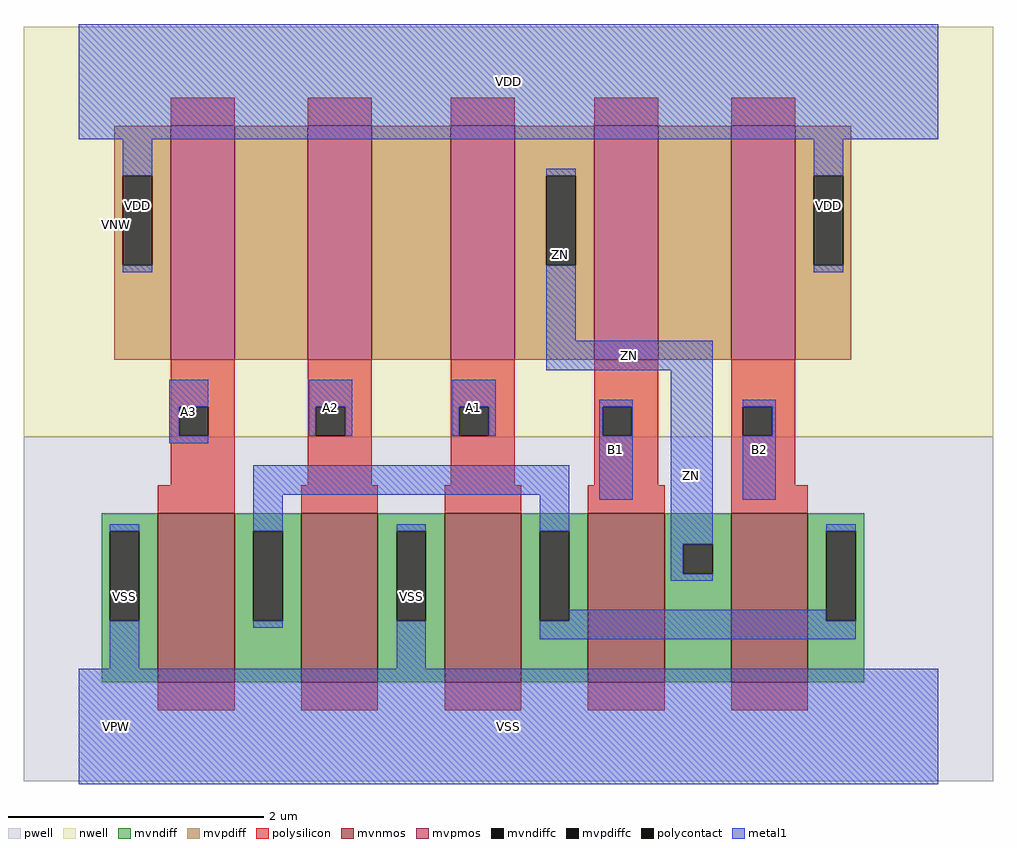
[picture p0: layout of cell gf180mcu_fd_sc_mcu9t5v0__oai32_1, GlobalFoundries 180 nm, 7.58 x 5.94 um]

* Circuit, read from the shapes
.subckt gf180mcu_fd_sc_mcu9t5v0__oai32_1 A1 A2 A3 B1 B2 ZN VDD VNW VPW VSS
XM1 n1 A3 VSS VPW nfet_06v0 w=1.32u l=0.6u
XM2 VSS A2 n1 VPW nfet_06v0 w=1.32u l=0.6u
XM3 n1 A1 VSS VPW nfet_06v0 w=1.32u l=0.6u
XM4 ZN B1 n1 VPW nfet_06v0 w=1.32u l=0.6u
XM5 n1 B2 ZN VPW nfet_06v0 w=1.32u l=0.6u
XM6 n2 A3 VDD VNW pfet_06v0 w=1.83u l=0.5u
XM7 n3 A2 n2 VNW pfet_06v0 w=1.83u l=0.5u
XM8 ZN A1 n3 VNW pfet_06v0 w=1.83u l=0.5u
XM9 n4 B1 ZN VNW pfet_06v0 w=1.83u l=0.5u
XM10 VDD B2 n4 VNW pfet_06v0 w=1.83u l=0.5u
.ends

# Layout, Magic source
magic
tech gf180mcuD
magscale 1 10
<< nwell >>
rect -86 453 1430 1094
<< pwell >>
rect -86 -86 1430 453
<< mvnmos >>
rect 124 69 244 333
rect 348 69 468 333
rect 572 69 692 333
rect 796 69 916 333
rect 1020 69 1140 333
<< mvpmos >>
rect 144 573 244 939
rect 358 573 458 939
rect 582 573 682 939
rect 806 573 906 939
rect 1020 573 1120 939
<< mvndiff >>
rect 36 305 124 333
rect 36 165 49 305
rect 95 165 124 305
rect 36 69 124 165
rect 244 305 348 333
rect 244 165 273 305
rect 319 165 348 305
rect 244 69 348 165
rect 468 305 572 333
rect 468 165 497 305
rect 543 165 572 305
rect 468 69 572 165
rect 692 305 796 333
rect 692 165 721 305
rect 767 165 796 305
rect 692 69 796 165
rect 916 285 1020 333
rect 916 239 945 285
rect 991 239 1020 285
rect 916 69 1020 239
rect 1140 305 1228 333
rect 1140 165 1169 305
rect 1215 165 1228 305
rect 1140 69 1228 165
<< mvpdiff >>
rect 56 861 144 939
rect 56 721 69 861
rect 115 721 144 861
rect 56 573 144 721
rect 244 573 358 939
rect 458 573 582 939
rect 682 861 806 939
rect 682 721 731 861
rect 777 721 806 861
rect 682 573 806 721
rect 906 573 1020 939
rect 1120 861 1208 939
rect 1120 721 1149 861
rect 1195 721 1208 861
rect 1120 573 1208 721
<< mvndiffc >>
rect 49 165 95 305
rect 273 165 319 305
rect 497 165 543 305
rect 721 165 767 305
rect 945 239 991 285
rect 1169 165 1215 305
<< mvpdiffc >>
rect 69 721 115 861
rect 731 721 777 861
rect 1149 721 1195 861
<< polysilicon >>
rect 144 939 244 983
rect 358 939 458 983
rect 582 939 682 983
rect 806 939 906 983
rect 1020 939 1120 983
rect 144 500 244 573
rect 144 454 157 500
rect 203 454 244 500
rect 144 377 244 454
rect 358 500 458 573
rect 358 454 371 500
rect 417 454 458 500
rect 358 377 458 454
rect 582 500 682 573
rect 582 454 595 500
rect 641 454 682 500
rect 582 377 682 454
rect 806 500 906 573
rect 806 454 819 500
rect 865 454 906 500
rect 806 377 906 454
rect 1020 500 1120 573
rect 1020 454 1038 500
rect 1084 454 1120 500
rect 1020 377 1120 454
rect 124 333 244 377
rect 348 333 468 377
rect 572 333 692 377
rect 796 333 916 377
rect 1020 333 1140 377
rect 124 25 244 69
rect 348 25 468 69
rect 572 25 692 69
rect 796 25 916 69
rect 1020 25 1140 69
<< polycontact >>
rect 157 454 203 500
rect 371 454 417 500
rect 595 454 641 500
rect 819 454 865 500
rect 1038 454 1084 500
<< metal1 >>
rect 0 918 1344 1098
rect 69 861 115 918
rect 69 710 115 721
rect 731 861 777 872
rect 731 603 777 721
rect 1149 861 1195 918
rect 1149 710 1195 721
rect 731 557 991 603
rect 142 500 203 542
rect 142 454 157 500
rect 360 500 428 542
rect 360 454 371 500
rect 417 454 428 500
rect 584 500 652 542
rect 584 454 595 500
rect 641 454 652 500
rect 814 500 866 511
rect 814 454 819 500
rect 865 454 866 500
rect 142 443 203 454
rect 273 362 767 408
rect 49 305 95 316
rect 49 90 95 165
rect 273 305 319 362
rect 273 154 319 165
rect 497 305 543 316
rect 497 90 543 165
rect 721 305 767 362
rect 814 354 866 454
rect 926 285 991 557
rect 1038 500 1090 511
rect 1084 454 1090 500
rect 1038 354 1090 454
rect 926 239 945 285
rect 926 228 991 239
rect 1169 305 1215 316
rect 767 165 1169 182
rect 721 136 1215 165
rect 0 -90 1344 90
<< labels >>
flabel metal1 s 584 454 652 542 0 FreeSans 200 0 0 0 A1
port 1 nsew default input
flabel metal1 s 360 454 428 542 0 FreeSans 200 0 0 0 A2
port 2 nsew default input
flabel metal1 s 142 443 203 542 0 FreeSans 200 0 0 0 A3
port 3 nsew default input
flabel metal1 s 814 354 866 511 0 FreeSans 200 0 0 0 B1
port 4 nsew default input
flabel metal1 s 1038 354 1090 511 0 FreeSans 200 0 0 0 B2
port 5 nsew default input
flabel metal1 s 0 918 1344 1098 0 FreeSans 200 0 0 0 VDD
port 7 nsew power bidirectional abutment
flabel metal1 s 497 90 543 316 0 FreeSans 200 0 0 0 VSS
port 10 nsew ground bidirectional abutment
flabel metal1 s 731 603 777 872 0 FreeSans 200 0 0 0 ZN
port 6 nsew default output
flabel nwell s 10 734 110 834 0 FreeSans 400 0 0 0 VNW
port 8 nsew power bidirectional
flabel pwell s 10 -50 110 50 0 FreeSans 400 0 0 0 VPW
port 9 nsew ground bidirectional
rlabel metal1 s 731 557 991 603 1 ZN
port 6 nsew default output
rlabel metal1 s 926 228 991 557 1 ZN
port 6 nsew default output
rlabel metal1 s 1149 710 1195 918 1 VDD
port 7 nsew power bidirectional abutment
rlabel metal1 s 69 710 115 918 1 VDD
port 7 nsew power bidirectional abutment
rlabel metal1 s 49 90 95 316 1 VSS
port 10 nsew ground bidirectional abutment
rlabel metal1 s 0 -90 1344 90 1 VSS
port 10 nsew ground bidirectional abutment
<< properties >>
string FIXED_BBOX 0 0 1344 1008
string GDS_END 166272
string GDS_FILE $PDKPATH/libs.ref/gf180mcu_fd_sc_mcu9t5v0/gds/gf180mcu_fd_sc_mcu9t5v0.gds
string GDS_START 162082
string LEFclass core
string LEFsite GF018hv5v_green_sc9
string LEFsymmetry X Y
<< end >>
